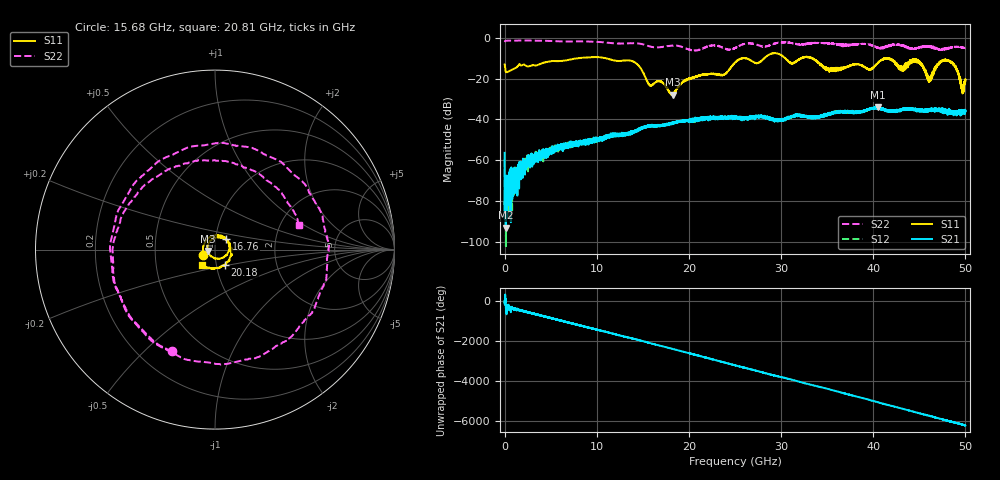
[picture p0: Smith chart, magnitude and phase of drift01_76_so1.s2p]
!Created with skrf (http://scikit-rf.org).
# Hz S RI R 50.0
!freq ReS11 ImS11 ReS21 ImS21 ReS12 ImS12 ReS22 ImS22
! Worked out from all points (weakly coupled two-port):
!   10001 points, 300 kHz to 50 GHz, reference 50 ohm
!   highest |S21| = -34.02 dB at 40.48 GHz (marker M1); lowest = -93.1 dB at 130.3 MHz (marker M2)
!   lowest |S11| = -28.0 dB at 18.26 GHz (marker M3), VSWR 1.08, Z = 46.2 - j0.732 ohm
!   |S11| at or under -10 dB: start of sweep to 8.044 GHz; 10.92 GHz to 25.86 GHz (14.94 GHz wide, 81.3 % of centre); 41.53 GHz to end of sweep (the widest 3 of 22)
!   |S22| runs from -6.4 to -1.3 dB; largest |S21 - S12| = 0.0038
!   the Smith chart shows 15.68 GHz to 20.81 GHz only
!   S11 on the Smith chart (normalised r, x): 15.68 GHz: 0.88, -0.05; 16.76 GHz: 1.13, +0.13; 20.18 GHz: 1.10, -0.19; 20.81 GHz: 0.85, -0.15
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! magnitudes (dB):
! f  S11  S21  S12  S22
! 300 kHz  -13.1  -56.4  -59.6  -2.1
! 130.3 MHz  -16.6  -93.1  -87.1  -1.5
! 255.3 MHz  -16.9  -67.9  -74.7  -1.4
! 3.265 GHz  -13.6  -59.3  -59.6  -1.4
! 8.335 GHz  -9.9  -51.2  -50.9  -1.8
! 13.89 GHz  -11.5  -46.1  -46.2  -2.7
! 15.68 GHz  -23.0  -43.2  -43.2  -4.2
! 16.67 GHz  -21.2  -43.0  -42.9  -4.8
! 16.76 GHz  -21.3  -43.4  -42.9  -4.7
! 18.26 GHz  -28.0  -42.2  -42.0  -3.9
! 20.18 GHz  -19.9  -40.1  -40.4  -6.0
! 20.81 GHz  -18.9  -39.8  -40.6  -6.3
! 25 GHz  -12.2  -38.7  -39.0  -5.0
! 33.34 GHz  -10.0  -39.0  -39.0  -2.7
! 35.34 GHz  -15.4  -37.3  -37.3  -2.6
! 40.48 GHz  -12.4  -34.0  -34.3  -4.7
! 41.67 GHz  -10.1  -35.9  -35.8  -4.0
! 43.03 GHz  -15.1  -35.1  -35.4  -3.7
! 44.82 GHz  -11.4  -35.2  -35.5  -5.1
! 46.1 GHz  -20.9  -35.4  -35.2  -4.5
! 48.04 GHz  -11.2  -36.4  -36.1  -5.4
! 50 GHz  -21.3  -35.8  -35.9  -5.2
